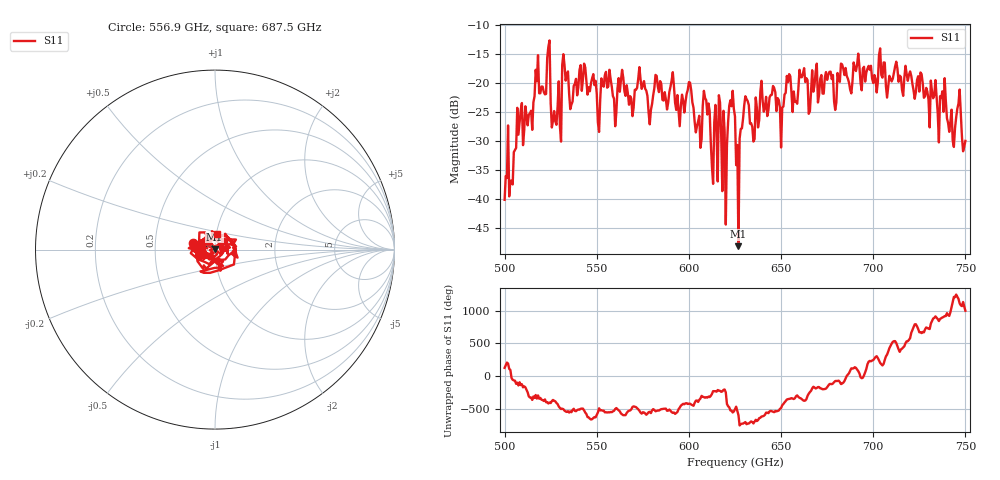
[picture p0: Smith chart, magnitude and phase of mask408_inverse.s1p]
!Created with skrf (http://scikit-rf.org).
# GHz S MA R 50.0
!freq magS11 angS11
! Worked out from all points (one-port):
!   401 points, 500 GHz to 750 GHz, reference 50 ohm
!   lowest |S11| = -48.1 dB at 626.9 GHz (marker M1), VSWR 1.01, Z = 49.8 + j0.332 ohm
!   |S11| at or under -10 dB: start of sweep to end of sweep
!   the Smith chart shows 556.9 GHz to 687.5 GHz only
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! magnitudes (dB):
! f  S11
! 500 GHz  -40.1
! 516.9 GHz  -17.8
! 523.8 GHz  -13.8
! 526.9 GHz  -24.9
! 531.2 GHz  -17.0
! 562.5 GHz  -21.5
! 578.8 GHz  -27.1
! 590.6 GHz  -19.6
! 593.8 GHz  -22.1
! 600 GHz  -19.9
! 605.6 GHz  -25.7
! 609.4 GHz  -23.0
! 612.5 GHz  -34.5
! 617.5 GHz  -28.9
! 619.4 GHz  -28.4
! 622.5 GHz  -23.0
! 625 GHz  -25.8
! 626.9 GHz  -48.1
! 631.2 GHz  -22.8
! 634.4 GHz  -27.6
! 640 GHz  -23.1
! 656.2 GHz  -25.0
! 687.5 GHz  -21.2
! 718.8 GHz  -19.7
! 738.1 GHz  -25.0
! 742.5 GHz  -24.6
! 746.2 GHz  -23.6
! 750 GHz  -30.0
